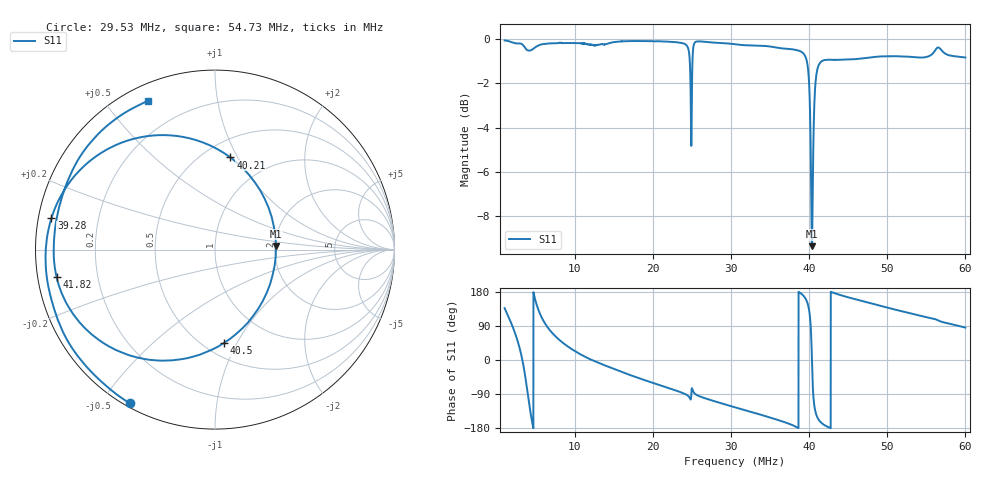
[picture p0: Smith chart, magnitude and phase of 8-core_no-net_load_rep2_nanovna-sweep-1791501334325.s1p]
! NanoVNA Web complex sweep
! Processing: unaveraged complex samples; linear segment spacing; no smoothing
# Hz S RI R 50
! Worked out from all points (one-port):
!   5050 points, 1 MHz to 60 MHz, reference 50 ohm
!   lowest |S11| = -9.4 dB at 40.34 MHz (marker M1), VSWR 2.03, Z = 101 + j4.53 ohm
!   |S11| at or under -10 dB: nowhere
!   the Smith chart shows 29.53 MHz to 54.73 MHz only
!   S11 on the Smith chart (normalised r, x): 29.53 MHz: 0.01, -0.59; 39.28 MHz: 0.04, +0.09; 40.21 MHz: 0.66, +0.93; 40.5 MHz: 0.62, -0.89; 41.82 MHz: 0.06, -0.09; 54.73 MHz: 0.07, +0.64
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1000000  -0.7255 0.6794
2238610  0.2289 0.9536
3150040  0.9555 0.2029
3547330  0.822 -0.4972
3967990  0.0033 -0.9437
4318540  -0.7117 -0.6203
4634035  -0.9475 -0.077
5113120  -0.7921 0.5494
5650630  -0.4309 0.8724
8384920  0.6741 0.7114
1.117764e7  0.9632 0.1665
1.575816e7  0.8585 -0.4905
2.313139e7  0.1383 -0.9744
2.953477e7  -0.4751 -0.8555
3.050462e7  -0.5579 -0.7991
3.787786e7  -0.9399 -0.1304
3.928006e7  -0.9113 0.1749
3.995779e7  -0.5737 0.5726
4.021486e7  0.0862 0.5133
4.03434e7  0.3395 0.0198
4.04953e7  0.0497 -0.5202
4.070563e7  -0.4506 -0.5963
4.099776e7  -0.7289 -0.4334
4.18157e7  -0.8824 -0.1546
4.52511e7  -0.8651 0.2484
5.262433e7  -0.5175 0.7528
5.472763e7  -0.375 0.8291
5.999756e7  0.0698 0.9068
